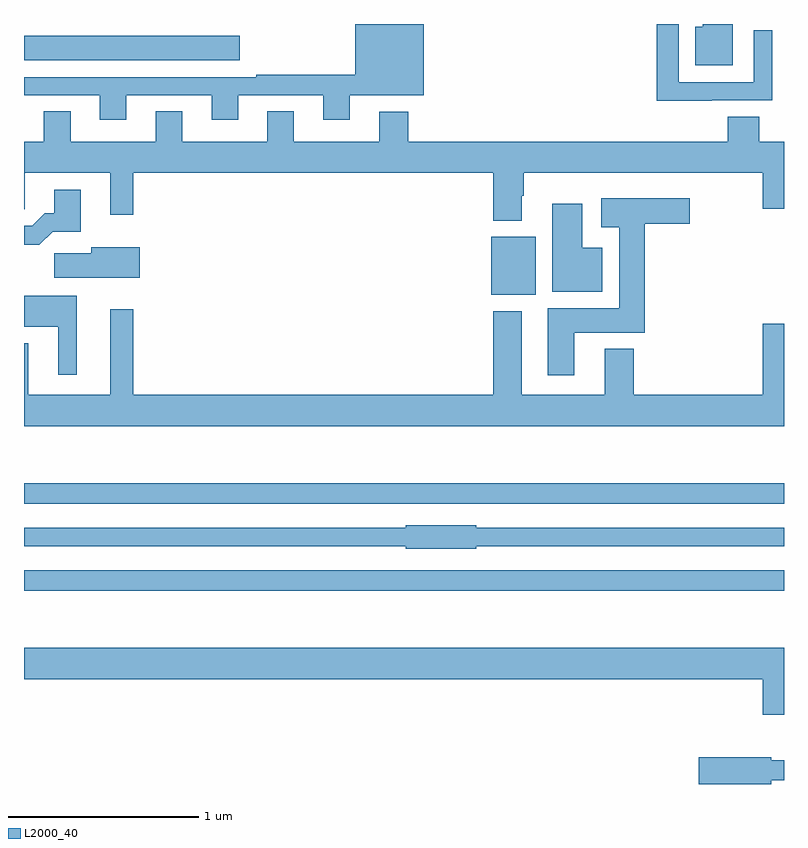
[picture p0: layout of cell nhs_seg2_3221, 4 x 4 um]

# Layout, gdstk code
import gdstk
lib = gdstk.Library(unit=1e-6, precision=1e-09)
def R(c, l, rs):  # rectangles x0, y0, x1, y1
    for r in rs: c.add(gdstk.rectangle(r[:2], r[2:], *l))
def P(c, l, *ps):  # polygons
    for p in ps: c.add(gdstk.Polygon(p, *l))
L2000_40 = (2000, 40)

nhs_seg2_3221 = lib.new_cell('nhs_seg2_3221')
R(nhs_seg2_3221, L2000_40, [(281,598.818,285,598.926), (281,599.274,285,599.383), (283.46,600.374,283.693,600.679), (281,601.61,282.136,601.738)])
P(nhs_seg2_3221, L2000_40, [(281.539,601.425),(281.987,601.425),(281.987,601.296),(282.127,601.296),(282.127,601.425),(282.575,601.425),(282.575,601.296),(282.715,601.296),(282.715,601.424),(283.105,601.424),(283.105,601.8),(282.743,601.8),(282.743,601.534),(282.223,601.534),(282.223,601.521),(281,601.521),(281,601.425),(281.399,601.425),(281.399,601.296),(281.539,601.296)],
  [(284.731,601.8),(284.573,601.8),(284.573,601.786),(284.534,601.786),(284.534,601.583),(284.731,601.583)],
  [(284.621,601.398),(284.937,601.398),(284.937,601.768),(284.841,601.768),(284.841,601.494),(284.445,601.494),(284.445,601.8),(284.329,601.8),(284.329,601.397),(284.621,601.397)],
  [(283.621,600.896),(283.629,600.896),(283.629,601.016),(284.888,601.016),(284.888,600.828),(285,600.828),(285,601.18),(284.87,601.18),(284.87,601.313),(284.705,601.313),(284.705,601.18),(283.022,601.18),(283.022,601.339),(282.869,601.339),(282.869,601.18),(282.421,601.18),(282.421,601.34),(282.281,601.34),(282.281,601.18),(281.833,601.18),(281.833,601.34),(281.693,601.34),(281.693,601.18),(281.245,601.18),(281.245,601.34),(281.105,601.34),(281.105,601.18),(281,601.18),(281,600.826),(281.004,600.826),(281.004,601.016),(281.453,601.016),(281.453,600.795),(281.575,600.795),(281.575,601.016),(283.469,601.016),(283.469,600.764),(283.621,600.764)],
  [(281.15,600.707),(281.299,600.707),(281.299,600.928),(281.159,600.928),(281.159,600.805),(281.11,600.805),(281.043,600.738),(281,600.738),(281,600.638),(281.081,600.638)],
  [(283.897,600.176),(284.267,600.176),(284.267,600.749),(284.503,600.749),(284.503,600.883),(284.037,600.883),(284.037,600.731),(284.132,600.731),(284.132,600.304),(283.757,600.304),(283.757,599.952),(283.897,599.952)],
  [(284.044,600.622),(283.939,600.622),(283.939,600.853),(283.781,600.853),(283.781,600.392),(284.044,600.392)],
  [(281.608,600.625),(281.354,600.625),(281.354,600.593),(281.16,600.593),(281.16,600.464),(281.608,600.464)],
  [(281.278,600.37),(281,600.37),(281,600.206),(281.18,600.206),(281.18,599.955),(281.278,599.955)],
  [(285,600.223),(284.888,600.223),(284.888,599.848),(284.21,599.848),(284.21,600.091),(284.057,600.091),(284.057,599.848),(283.621,599.848),(283.621,600.289),(283.469,600.289),(283.469,599.848),(281.575,599.848),(281.575,600.298),(281.453,600.298),(281.453,599.848),(281.023,599.848),(281.023,600.121),(281,600.121),(281,599.684),(285,599.684)],
  [(283.38,599.052),(285,599.052),(285,599.148),(283.38,599.148),(283.38,599.161),(283.008,599.161),(283.008,599.148),(281,599.148),(281,599.052),(283.008,599.052),(283.008,599.039),(283.38,599.039)],
  [(285,598.516),(281,598.516),(281,598.352),(284.888,598.352),(284.888,598.164),(285,598.164)],
  [(284.934,597.82),(285,597.82),(285,597.924),(284.934,597.924),(284.934,597.942),(284.55,597.942),(284.55,597.8),(284.934,597.8)])

lib.write_gds('nhs_seg2_3221.gds')
